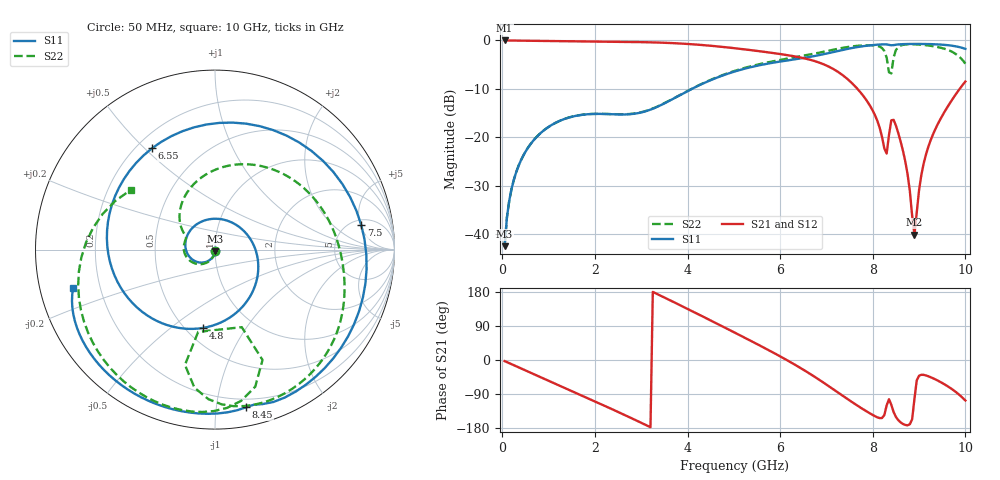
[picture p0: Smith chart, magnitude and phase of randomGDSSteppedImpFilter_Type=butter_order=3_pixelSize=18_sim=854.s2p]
! freq	dB(S11)	phase(S11)	dB(S12)	phase(S12)
!  dB(S21)	phase(S21)	dB(S22)	phase(S22)
!S-par simulation data
#  GHz  S  DB  R 50
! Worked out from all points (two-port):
!   200 points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, 50 MHz to 10 GHz, reference 50 ohm
!   highest |S21| = 0.00 dB at 50 MHz (marker M1); lowest = -40.1 dB at 8.9 GHz (marker M2)
!   |S21| within 3 dB of the highest: start of sweep to 6.135 GHz
!   lowest |S11| = -42.5 dB at 50 MHz (marker M3), VSWR 1.02, Z = 50 - j0.751 ohm
!   |S11| at or under -10 dB: start of sweep to 4.094 GHz
!   |S22| runs from -42.5 to -0.8 dB; largest |S21 - S12| = 0
!   S11 on the Smith chart (normalised r, x): 50 MHz: 1.00, -0.02; 4.8 GHz: 0.61, -0.66; 6.55 GHz: 0.26, +0.53; 7.5 GHz: 5.97, +5.16; 8.45 GHz: 0.14, -1.21; 10 GHz: 0.10, -0.13
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0.05  -42.48 -91.4  -0.00 -2.8  -0.00 -2.8  -42.49 -91.4
0.2  -30.65 -101.5  -0.02 -11.1  -0.02 -11.1  -30.65 -100.1
0.5  -22.99 -119.7  -0.06 -27.5  -0.06 -27.5  -22.98 -116.3
1.75  -15.33 162.0  -0.24 -95.6  -0.24 -95.6  -15.32 -174.9
2.7  -15.27 82.5  -0.31 -148.4  -0.31 -148.4  -15.22 158.7
3.4  -13.47 10.7  -0.45 170.9  -0.45 170.9  -13.43 149.0
4.8  -7.10 -98.8  -1.38 85.8  -1.38 85.8  -7.00 89.3
5.05  -6.33 -115.7  -1.64 70.4  -1.64 70.4  -6.19 75.3
5.95  -4.43 178.3  -2.74 12.9  -2.74 12.9  -4.12 26.8
6.55  -3.55 121.9  -3.76 -29.3  -3.76 -29.3  -3.08 -1.9
6.7  -3.30 105.4  -4.13 -40.8  -4.13 -40.8  -2.81 -8.7
7.1  -2.50 57.8  -5.65 -73.2  -5.65 -73.2  -1.99 -27.2
7.5  -1.66 9.6  -8.36 -106.8  -8.36 -106.8  -1.30 -47.3
8.1  -0.88 -51.8  -16.65 -151.3  -16.65 -151.3  -1.13 -83.3
8.3  -0.83 -69.0  -23.36 -119.6  -23.36 -119.6  -3.56 -104.6
8.35  -0.91 -73.0  -19.53 -103.5  -19.53 -103.5  -6.60 -101.6
8.45  -0.96 -78.8  -16.40 -137.3  -16.40 -137.3  -3.49 -66.7
8.7  -0.75 -95.5  -24.88 -171.4  -24.88 -171.4  -0.84 -94.4
8.9  -0.72 -107.8  -40.13 -102.5  -40.13 -102.5  -0.80 -108.5
9.2  -0.75 -124.7  -21.95 -42.9  -21.95 -42.9  -1.04 -128.3
9.7  -1.07 -150.5  -12.44 -76.0  -12.44 -76.0  -2.29 -170.9
10  -1.74 -164.8  -8.48 -106.8  -8.48 -106.8  -4.80 144.7
